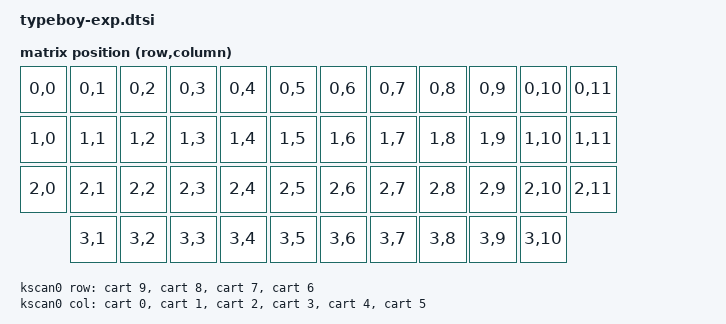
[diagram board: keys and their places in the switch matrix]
#include <physical_layouts.dtsi>
#include <dt-bindings/zmk/matrix_transform.h>
#include <dt-bindings/led/led.h>

// Define a pinctrl for the RGB LEDs.
&pinctrl {
    spi3_default: spi3_default {
        group1 {
            psels = <NRF_PSEL(SPIM_MOSI, 1, 0)>;
        };
    };

    spi3_sleep: spi3_sleep {
        group1 {
            psels = <NRF_PSEL(SPIM_MOSI, 1, 0)>;
            low-power-enable;
        };
    };
};

// RGB LEDs. Connected to Pin D26/P1.00
&spi3 {
    compatible = "nordic,nrf-spim";
    status = "okay";

    pinctrl-0 = <&spi3_default>;
    pinctrl-1 = <&spi3_sleep>;
    pinctrl-names = "default", "sleep";

    led_strip: ws2812@0 {
        compatible = "worldsemi,ws2812-spi";

        /* SPI */
        reg = <0>; /* ignored, but necessary for SPI bindings */
        spi-max-frequency = <4000000>;

        /* WS2812 */
        chain-length = <48>; /* number of LEDs */
        spi-one-frame = <0x70>;
        spi-zero-frame = <0x40>;
        color-mapping = <LED_COLOR_ID_GREEN
                         LED_COLOR_ID_RED
                         LED_COLOR_ID_BLUE>;
    };
};

// Display settings.
&cart_spi {
    status = "okay";

    cs-gpios = <&cart 23 GPIO_ACTIVE_HIGH>;
	ls0xx: ls0xx@0 {
		compatible = "sharp,ls0xx";
		label = "DISPLAY";
		spi-max-frequency = <2000000>;
		reg = <0>;
		width = <160>;
		height = <68>;
	};
};

&cart_serial { status = "disabled"; };

/ {
    typeboy_layout: typeboy_layout {
        compatible = "zmk,physical-layout";
        display-name = "TypeBoy Advance";
        transform = <&default_transform>;

        keys  //                     w   h    x    y     rot    rx    ry
            = <&key_physical_attrs 100 100    0    0       0     0     0>
            , <&key_physical_attrs 100 100  100    0       0     0     0>
            , <&key_physical_attrs 100 100  200    0       0     0     0>
            , <&key_physical_attrs 100 100  300    0       0     0     0>
            , <&key_physical_attrs 100 100  400    0       0     0     0>
            , <&key_physical_attrs 100 100  500    0       0     0     0>
            , <&key_physical_attrs 100 100  600    0       0     0     0>
            , <&key_physical_attrs 100 100  700    0       0     0     0>
            , <&key_physical_attrs 100 100  800    0       0     0     0>
            , <&key_physical_attrs 100 100  900    0       0     0     0>
            , <&key_physical_attrs 100 100 1000    0       0     0     0>
            , <&key_physical_attrs 100 100 1100    0       0     0     0>
            , <&key_physical_attrs 100 100    0  100       0     0     0>
            , <&key_physical_attrs 100 100  100  100       0     0     0>
            , <&key_physical_attrs 100 100  200  100       0     0     0>
            , <&key_physical_attrs 100 100  300  100       0     0     0>
            , <&key_physical_attrs 100 100  400  100       0     0     0>
            , <&key_physical_attrs 100 100  500  100       0     0     0>
            , <&key_physical_attrs 100 100  600  100       0     0     0>
            , <&key_physical_attrs 100 100  700  100       0     0     0>
            , <&key_physical_attrs 100 100  800  100       0     0     0>
            , <&key_physical_attrs 100 100  900  100       0     0     0>
            , <&key_physical_attrs 100 100 1000  100       0     0     0>
            , <&key_physical_attrs 100 100 1100  100       0     0     0>
            , <&key_physical_attrs 100 100    0  200       0     0     0>
            , <&key_physical_attrs 100 100  100  200       0     0     0>
            , <&key_physical_attrs 100 100  200  200       0     0     0>
            , <&key_physical_attrs 100 100  300  200       0     0     0>
            , <&key_physical_attrs 100 100  400  200       0     0     0>
            , <&key_physical_attrs 100 100  500  200       0     0     0>
            , <&key_physical_attrs 100 100  600  200       0     0     0>
            , <&key_physical_attrs 100 100  700  200       0     0     0>
            , <&key_physical_attrs 100 100  800  200       0     0     0>
            , <&key_physical_attrs 100 100  900  200       0     0     0>
            , <&key_physical_attrs 100 100 1000  200       0     0     0>
            , <&key_physical_attrs 100 100 1100  200       0     0     0>
            , <&key_physical_attrs 100 100    0  300       0     0     0>
            , <&key_physical_attrs 100 100  100  300       0     0     0>
            , <&key_physical_attrs 100 100  200  300       0     0     0>
            , <&key_physical_attrs 100 100  300  300       0     0     0>
            , <&key_physical_attrs 100 100  400  300       0     0     0>
            , <&key_physical_attrs 100 100  500  300       0     0     0>
            , <&key_physical_attrs 100 100  600  300       0     0     0>
            , <&key_physical_attrs 100 100  700  300       0     0     0>
            , <&key_physical_attrs 100 100  800  300       0     0     0>
            , <&key_physical_attrs 100 100  900  300       0     0     0>
            , <&key_physical_attrs 100 100 1000  300       0     0     0>
            , <&key_physical_attrs 100 100 1100  300       0     0     0>
            ;
    };

        chosen {
        zmk,kscan = &kscan0;
        zmk,physical-layout = &typeboy_layout;
		zephyr,display = &ls0xx;
        zmk,underglow = &led_strip;
    };

    default_transform: keymap_transform_0 {
        compatible = "zmk,matrix-transform";
        columns = <12>;
        rows = <4>;

        map = <
            RC(0,0) RC(0,1) RC(0,2) RC(0,3) RC(0,4) RC(0,5) RC(0,6) RC(0,7) RC(0,8) RC(0,9) RC(0,10) RC(0,11)
            RC(1,0) RC(1,1) RC(1,2) RC(1,3) RC(1,4) RC(1,5) RC(1,6) RC(1,7) RC(1,8) RC(1,9) RC(1,10) RC(1,11)
            RC(2,0) RC(2,1) RC(2,2) RC(2,3) RC(2,4) RC(2,5) RC(2,6) RC(2,7) RC(2,8) RC(2,9) RC(2,10) RC(2,11)
                    RC(3,1) RC(3,2) RC(3,3) RC(3,4) RC(3,5) RC(3,6) RC(3,7) RC(3,8) RC(3,9) RC(3,10)
        >;
    };

    kscan0: kscan_0 {
        compatible = "zmk,kscan-gpio-matrix";
        wakeup-source;

        diode-direction = "col2row";

        col-gpios
            = <&cart 0 GPIO_ACTIVE_HIGH>
            , <&cart 1 GPIO_ACTIVE_HIGH>
            , <&cart 2 GPIO_ACTIVE_HIGH>
            , <&cart 3 GPIO_ACTIVE_HIGH>
            , <&cart 4 GPIO_ACTIVE_HIGH>
            , <&cart 5 GPIO_ACTIVE_HIGH>
            ;

        row-gpios
            = <&cart 9 (GPIO_ACTIVE_HIGH | GPIO_PULL_DOWN)>
            , <&cart 8 (GPIO_ACTIVE_HIGH | GPIO_PULL_DOWN)>
            , <&cart 7 (GPIO_ACTIVE_HIGH | GPIO_PULL_DOWN)>
            , <&cart 6 (GPIO_ACTIVE_HIGH | GPIO_PULL_DOWN)>
            ;
    };
};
